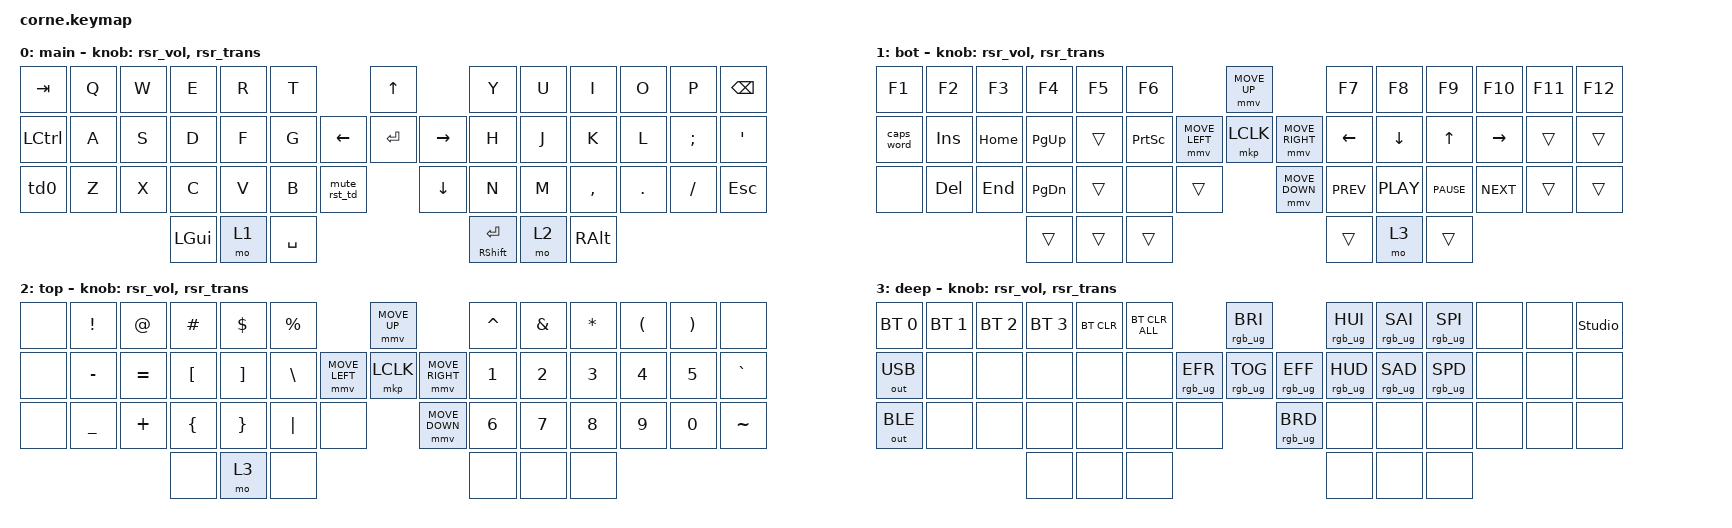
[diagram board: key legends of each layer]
#define ZMK_POINTING_DEFAULT_MOVE_VAL 1200  // 600
#define ZMK_POINTING_DEFAULT_SCRL_VAL 25   // 10

#include <input/processors.dtsi>
#include <zephyr/dt-bindings/input/input-event-codes.h>
#include <behaviors.dtsi>
#include <behaviors/runtime-sensor-rotate.dtsi>
#include <dt-bindings/zmk/bt.h>
#include <dt-bindings/zmk/keys.h>
#include <dt-bindings/zmk/outputs.h>
#include <dt-bindings/zmk/pointing.h>
#include <dt-bindings/zmk/rgb.h>

&mmv_input_listener { input-processors = <&zip_xy_scaler 2 1>; };

&msc_input_listener { input-processors = <&zip_scroll_scaler 2 1>; };

&msc {
    acceleration-exponent = <1>;      // 0
    time-to-max-speed-ms = <100>;       // 300
    delay-ms = <0>;                   // 0
};

&mmv {
    time-to-max-speed-ms = <500>;
    acceleration-exponent = <1>;
    trigger-period-ms = <16>;
};

&soft_off { hold-time-ms = <2000>; };

/ {
    behaviors {
        td0: td0 {
            compatible = "zmk,behavior-tap-dance";
            display-name = "Shift/Caps Lock Tap Dance";
            #binding-cells = <0>;
            bindings = <&kp LEFT_SHIFT>, <&kp CAPS>;
        };

        rsr_vol: rsr_vol {
            compatible = "zmk,behavior-runtime-sensor-rotate";
            #sensor-binding-cells = <0>;
            tap-ms = <5>;
            cw-binding = <&kp C_VOL_UP>;
            ccw-binding = <&kp C_VOL_DN>;
        };

        rsr_trans: rsr_trans {
            compatible = "zmk,behavior-runtime-sensor-rotate";
            #sensor-binding-cells = <0>;
            tap-ms = <0>;
        };

        mute_rst_td: mute_rst_td {
            compatible = "zmk,behavior-tap-dance";
            display-name = "Shift/Caps Lock Tap Dance";
            #binding-cells = <0>;
            bindings = <&kp C_MUTE>, <&sys_reset>, <&bootloader>;

            label = "MUTE_RST_TD";
        };
    };

    combos {
        compatible = "zmk,combos";

        softoff {
            bindings = <&soft_off>;
            key-positions = <1 15 29>;
        };
    };

    keymap {
        compatible = "zmk,keymap";

        default_layer {
            display-name = "main";
            bindings = <
&kp TAB    &kp Q  &kp W  &kp E     &kp R  &kp T                                &kp UP                &kp Y                  &kp U  &kp I      &kp O    &kp P     &kp BSPC
&kp LCTRL  &kp A  &kp S  &kp D     &kp F  &kp G                      &kp LEFT  &kp ENTER  &kp RIGHT  &kp H                  &kp J  &kp K      &kp L    &kp SEMI  &kp SQT
&td0       &kp Z  &kp X  &kp C     &kp V  &kp B      &mute_rst_td              &kp DOWN              &kp N                  &kp M  &kp COMMA  &kp DOT  &kp FSLH  &kp ESC
                         &kp LGUI  &mo 1  &kp SPACE                                                  &mt RIGHT_SHIFT ENTER  &mo 2  &kp RALT
            >;

            sensor-bindings = <&rsr_vol &rsr_trans>;
        };

        lower_layer {
            display-name = "bot";
            bindings = <
&kp F1      &kp F2      &kp F3    &kp F4         &kp F5  &kp F6                                     &mmv MOVE_UP                     &kp F7      &kp F8      &kp F9       &kp F10     &kp F11  &kp F12
&caps_word  &kp INS     &kp HOME  &kp PAGE_UP    &trans  &kp PRINTSCREEN            &mmv MOVE_LEFT  &mkp LCLK       &mmv MOVE_RIGHT  &kp LEFT    &kp DOWN    &kp UP       &kp RIGHT   &trans   &trans
&none       &kp DELETE  &kp END   &kp PAGE_DOWN  &trans  &none            &trans                    &mmv MOVE_DOWN                   &kp C_PREV  &kp C_PLAY  &kp C_PAUSE  &kp C_NEXT  &trans   &trans
                                  &trans         &trans  &trans                                                                      &trans      &mo 3       &trans
            >;

            sensor-bindings = <&rsr_vol &rsr_trans>;
        };

        raise_layer {
            display-name = "top";
            bindings = <
&none  &kp EXCL        &kp AT     &kp HASH          &kp DLLR           &kp PRCNT                               &mmv MOVE_UP                     &kp CARET     &kp AMPS      &kp ASTRK     &kp LPAR      &kp RPAR      &none
&none  &kp MINUS       &kp EQUAL  &kp LEFT_BRACKET  &kp RIGHT_BRACKET  &kp BACKSLASH           &mmv MOVE_LEFT  &mkp LCLK       &mmv MOVE_RIGHT  &kp NUMBER_1  &kp NUMBER_2  &kp NUMBER_3  &kp NUMBER_4  &kp NUMBER_5  &kp GRAVE
&none  &kp UNDERSCORE  &kp PLUS   &kp LEFT_BRACE    &kp RIGHT_BRACE    &kp PIPE       &none                    &mmv MOVE_DOWN                   &kp NUMBER_6  &kp NUMBER_7  &kp NUMBER_8  &kp NUMBER_9  &kp NUMBER_0  &kp TILDE
                                  &none             &mo 3              &none                                                                    &none         &none         &none
            >;

            sensor-bindings = <&rsr_vol &rsr_trans>;
        };

        layer_3 {
            display-name = "deep";
            bindings = <
&bt BT_SEL 0  &bt BT_SEL 1  &bt BT_SEL 2  &bt BT_SEL 3  &bt BT_CLR  &bt BT_CLR_ALL                            &rgb_ug RGB_BRI                   &rgb_ug RGB_HUI  &rgb_ug RGB_SAI  &rgb_ug RGB_SPI  &none  &none  &studio_unlock
&out OUT_USB  &none         &none         &none         &none       &none                    &rgb_ug RGB_EFR  &rgb_ug RGB_TOG  &rgb_ug RGB_EFF  &rgb_ug RGB_HUD  &rgb_ug RGB_SAD  &rgb_ug RGB_SPD  &none  &none  &none
&out OUT_BLE  &none         &none         &none         &none       &none           &none                     &rgb_ug RGB_BRD                   &none            &none            &none            &none  &none  &none
                                          &none         &none       &none                                                                       &none            &none            &none
            >;

            sensor-bindings = <&rsr_vol &rsr_trans>;
        };
    };
};
